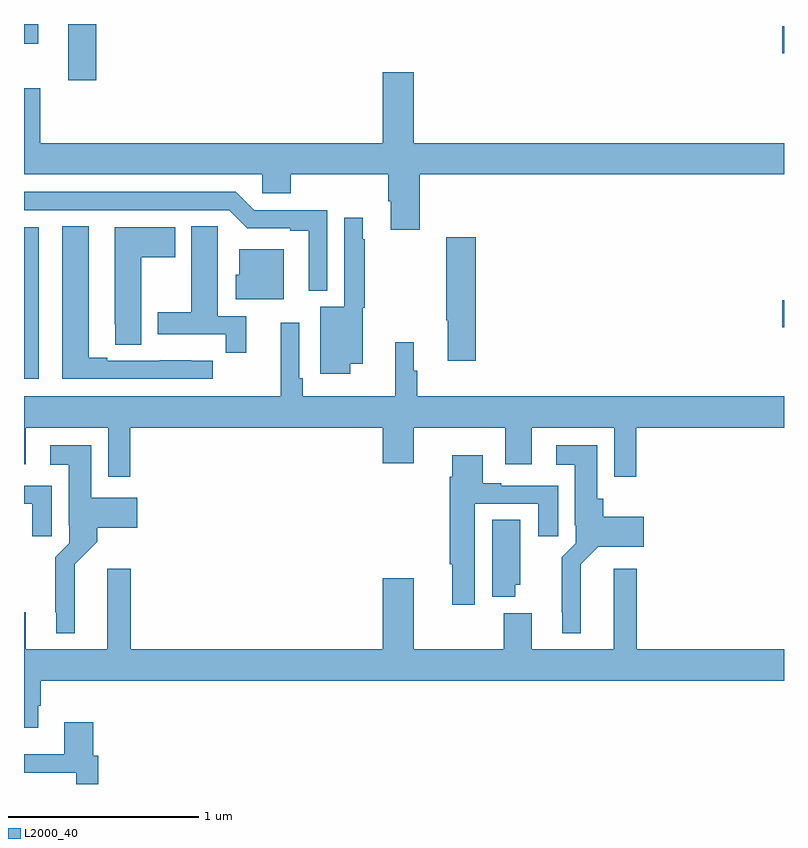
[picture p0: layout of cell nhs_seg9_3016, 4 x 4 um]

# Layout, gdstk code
import gdstk
lib = gdstk.Library(unit=1e-6, precision=1e-09)
def R(c, l, rs):  # rectangles x0, y0, x1, y1
    for r in rs: c.add(gdstk.rectangle(r[:2], r[2:], *l))
def P(c, l, *ps):  # polygons
    for p in ps: c.add(gdstk.Polygon(p, *l))
L2000_40 = (2000, 40)

nhs_seg9_3016 = lib.new_cell('nhs_seg9_3016')
R(nhs_seg9_3016, L2000_40, [(283,1240.632,283.078,1241.43), (286.992,1240.903,287,1241.045), (283.232,1242.204,283.379,1242.5), (286.992,1242.346,287,1242.488), (283,1242.395,283.075,1242.5)])
P(nhs_seg9_3016, L2000_40, [(285.052,1242.247),(284.888,1242.247),(284.888,1241.872),(283.085,1241.872),(283.085,1242.163),(283,1242.163),(283,1241.708),(284.253,1241.708),(284.253,1241.61),(284.405,1241.61),(284.405,1241.708),(284.918,1241.708),(284.918,1241.566),(284.93,1241.566),(284.93,1241.418),(285.083,1241.418),(285.083,1241.708),(287,1241.708),(287,1241.872),(285.052,1241.872)],
  [(284.595,1241.52),(284.211,1241.52),(284.115,1241.616),(283,1241.616),(283,1241.52),(284.079,1241.52),(284.175,1241.424),(284.402,1241.424),(284.402,1241.412),(284.498,1241.412),(284.498,1241.096),(284.595,1241.096)],
  [(284.716,1240.712),(284.782,1240.712),(284.782,1241.007),(284.794,1241.007),(284.794,1241.366),(284.782,1241.366),(284.782,1241.479),(284.685,1241.479),(284.685,1241.011),(284.558,1241.011),(284.558,1240.659),(284.716,1240.659)],
  [(283.993,1240.728),(283.88,1240.728),(283.88,1240.729),(283.714,1240.729),(283.714,1240.728),(283.438,1240.728),(283.438,1240.743),(283.342,1240.743),(283.342,1241.435),(283.202,1241.435),(283.202,1240.632),(283.993,1240.632)],
  [(284.171,1240.962),(284.02,1240.962),(284.02,1241.324),(284.019,1241.324),(284.019,1241.435),(283.88,1241.435),(283.88,1240.983),(283.703,1240.983),(283.703,1240.866),(284.062,1240.866),(284.062,1240.77),(284.171,1240.77)],
  [(283.618,1241.272),(283.795,1241.272),(283.795,1241.431),(283.478,1241.431),(283.478,1240.921),(283.479,1240.921),(283.479,1240.813),(283.618,1240.813)],
  [(285.377,1241.377),(285.223,1241.377),(285.223,1240.94),(285.23,1240.94),(285.23,1240.728),(285.377,1240.728)],
  [(284.368,1241.314),(284.132,1241.314),(284.132,1241.181),(284.114,1241.181),(284.114,1241.051),(284.368,1241.051)],
  [(283.559,1240.376),(284.888,1240.376),(284.888,1240.188),(285.052,1240.188),(285.052,1240.376),(285.533,1240.376),(285.533,1240.182),(285.673,1240.182),(285.673,1240.376),(286.107,1240.376),(286.107,1240.116),(286.223,1240.116),(286.223,1240.376),(287,1240.376),(287,1240.54),(285.071,1240.54),(285.071,1240.674),(285.052,1240.674),(285.052,1240.825),(284.953,1240.825),(284.953,1240.54),(284.468,1240.54),(284.468,1240.636),(284.448,1240.636),(284.448,1240.927),(284.351,1240.927),(284.351,1240.54),(283,1240.54),(283,1240.182),(283.009,1240.182),(283.009,1240.376),(283.443,1240.376),(283.443,1240.116),(283.559,1240.116)],
  [(285.931,1239.656),(286.023,1239.749),(286.261,1239.749),(286.261,1239.907),(286.049,1239.907),(286.049,1240.002),(286.018,1240.002),(286.018,1240.282),(285.801,1240.282),(285.801,1240.181),(285.899,1240.181),(285.899,1239.862),(285.903,1239.862),(285.903,1239.768),(285.829,1239.694),(285.829,1239.403),(285.833,1239.403),(285.833,1239.293),(285.931,1239.293)],
  [(283.267,1239.656),(283.385,1239.774),(283.385,1239.848),(283.597,1239.848),(283.597,1240.006),(283.354,1240.006),(283.354,1240.282),(283.137,1240.282),(283.137,1240.181),(283.235,1240.181),(283.235,1239.862),(283.239,1239.862),(283.239,1239.768),(283.165,1239.694),(283.165,1239.403),(283.169,1239.403),(283.169,1239.293),(283.267,1239.293)],
  [(285.373,1239.975),(285.707,1239.975),(285.707,1239.804),(285.811,1239.804),(285.811,1240.071),(285.511,1240.071),(285.511,1240.084),(285.415,1240.084),(285.415,1240.231),(285.254,1240.231),(285.254,1240.118),(285.242,1240.118),(285.242,1239.656),(285.254,1239.656),(285.254,1239.444),(285.373,1239.444)],
  [(283.147,1240.071),(283,1240.071),(283,1239.975),(283.043,1239.975),(283.043,1239.804),(283.147,1239.804)],
  [(285.586,1239.549),(285.613,1239.549),(285.613,1239.89),(285.464,1239.89),(285.464,1239.485),(285.586,1239.485)],
  [(283.075,1238.911),(283.088,1238.911),(283.088,1239.044),(287,1239.044),(287,1239.208),(286.226,1239.208),(286.226,1239.634),(286.103,1239.634),(286.103,1239.208),(285.673,1239.208),(285.673,1239.4),(285.526,1239.4),(285.526,1239.208),(285.052,1239.208),(285.052,1239.583),(284.888,1239.583),(284.888,1239.208),(283.562,1239.208),(283.562,1239.634),(283.439,1239.634),(283.439,1239.208),(283.009,1239.208),(283.009,1239.403),(283,1239.403),(283,1238.796),(283.075,1238.796)],
  [(283.391,1238.649),(283.364,1238.649),(283.364,1238.824),(283.211,1238.824),(283.211,1238.656),(283,1238.656),(283,1238.559),(283.275,1238.559),(283.275,1238.5),(283.391,1238.5)])

lib.write_gds('nhs_seg9_3016.gds')
